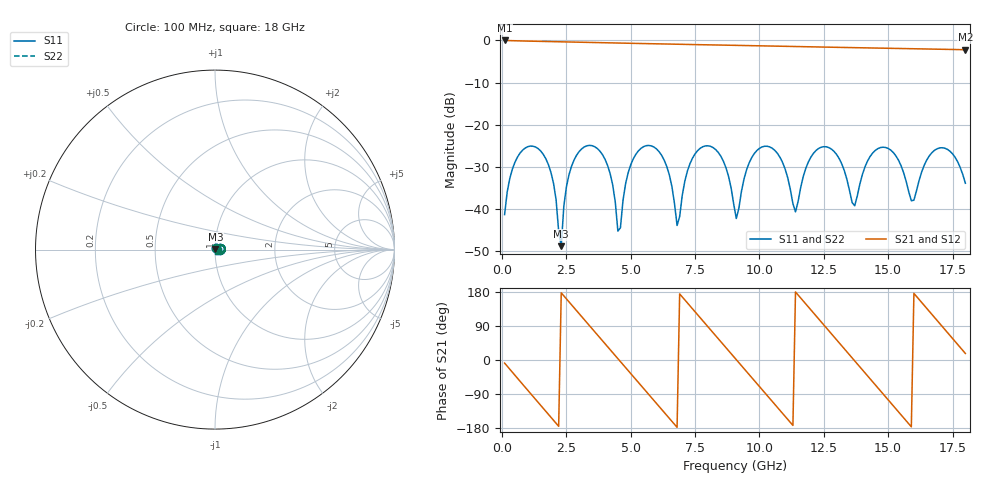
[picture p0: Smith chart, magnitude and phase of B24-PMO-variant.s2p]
! yapnr rf coupon B: B24 P-MO (variant, family P-MO)
! stackup JLC06161H-2116C, nominal parameters; reference planes 10 mm from each end; 50 ohm (renormalized from the line's Zc)
! model: 2D quasi-static RLGC (Djordjevic-Sarkar, Huray roughness, Wheeler loss); generated by python -m yapnr.rf.coupons expected
# GHz S DB R 50
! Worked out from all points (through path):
!   180 points, 100 MHz to 18 GHz, reference 50 ohm
!   highest |S21| = -0.04 dB at 100 MHz (marker M1); lowest = -2.2 dB at 18 GHz (marker M2)
!   group delay of S21, straight-line fit = 219 ps
!   lowest |S11| = -48.8 dB at 2.3 GHz (marker M3), VSWR 1.01, Z = 50.2 + j0.279 ohm
!   |S11| at or under -10 dB: start of sweep to end of sweep
!   |S22| runs from -48.8 to -24.9 dB; largest |S21 - S12| = 0
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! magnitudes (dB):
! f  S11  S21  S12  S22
! 100 MHz  -41.3  0.0  0.0  -41.3
! 500 MHz  -28.9  -0.1  -0.1  -28.9
! 1.3 GHz  -25.3  -0.2  -0.2  -25.3
! 1.9 GHz  -31.3  -0.3  -0.3  -31.3
! 2.3 GHz  -48.8  -0.4  -0.4  -48.8
! 2.5 GHz  -34.8  -0.4  -0.4  -34.8
! 3.1 GHz  -25.7  -0.5  -0.5  -25.7
! 4 GHz  -28.2  -0.6  -0.6  -28.2
! 4.5 GHz  -45.2  -0.6  -0.6  -45.2
! 5.1 GHz  -28.1  -0.7  -0.7  -28.1
! 6.1 GHz  -26.4  -0.8  -0.8  -26.4
! 6.8 GHz  -43.9  -0.9  -0.9  -43.9
! 7.9 GHz  -25.0  -1.1  -1.1  -25.0
! 9.1 GHz  -42.2  -1.2  -1.2  -42.2
! 10 GHz  -25.6  -1.3  -1.3  -25.6
! 11.4 GHz  -40.7  -1.5  -1.5  -40.7
! 12.1 GHz  -26.8  -1.6  -1.6  -26.8
! 13.7 GHz  -39.2  -1.7  -1.7  -39.2
! 15.1 GHz  -26.0  -1.9  -1.9  -26.0
! 15.9 GHz  -38.0  -2.0  -2.0  -38.0
! 17 GHz  -25.5  -2.1  -2.1  -25.5
! 18 GHz  -33.9  -2.2  -2.2  -33.9
